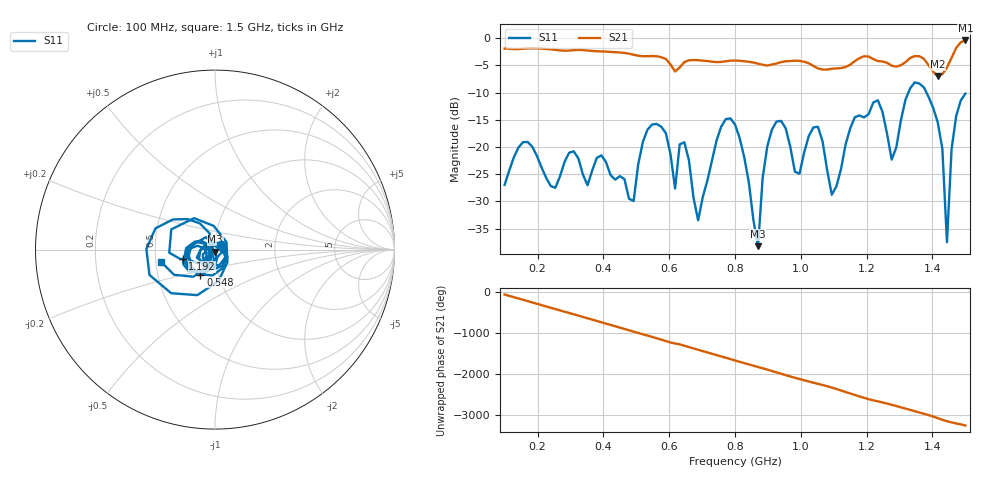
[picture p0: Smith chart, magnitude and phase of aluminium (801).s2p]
! NanoVNA-App
! Date: 2025-09-25 15:01:31
! Start: 100MHz Stop: 1,5GHz Points: 101
! S-Parameter data: F S11 S21 S12 S22
# Hz S RI R 50
!  Frequency  S11_Real  S11_Imag  S21_Real  S21_Imag  S12_Real  S12_Imag  S22_Real  S22_Imag
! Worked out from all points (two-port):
!   101 points, 100 MHz to 1.5 GHz, reference 50 ohm
!   highest |S21| = -0.45 dB at 1.5 GHz (marker M1); lowest = -7.0 dB at 1.416 GHz (marker M2)
!   |S21| within 3 dB of the highest: start of sweep to 570.1 MHz; 1.459 GHz to end of sweep (the widest 2 of 4)
!   lowest |S11| = -38.2 dB at 870 MHz (marker M3), VSWR 1.02, Z = 50.1 - j1.23 ohm
!   |S11| at or under -10 dB: start of sweep to 1.327 GHz; 1.382 GHz to end of sweep
!   S12 and S22 are empty: the file has one direction only
!   S11 on the Smith chart (normalised r, x): 100 MHz: 1.07, +0.06; 548 MHz: 0.82, -0.23; 1.192 GHz: 0.69, -0.07; 1.5 GHz: 0.53, -0.08
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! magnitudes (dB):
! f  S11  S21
! 100 MHz  -27.0  -1.9
! 156 MHz  -19.1  -2.0
! 338 MHz  -25.1  -2.2
! 492 MHz  -29.9  -3.1
! 548 MHz  -15.9  -3.3
! 576 MHz  -16.3  -3.5
! 618 MHz  -27.6  -6.1
! 646 MHz  -19.1  -4.4
! 688 MHz  -33.5  -4.1
! 800 MHz  -15.9  -4.1
! 870 MHz  -38.2  -4.7
! 912 MHz  -16.8  -4.9
! 996 MHz  -24.9  -4.2
! 1.038 GHz  -16.4  -5.1
! 1.094 GHz  -28.8  -5.6
! 1.192 GHz  -14.6  -3.4
! 1.276 GHz  -22.3  -5.1
! 1.346 GHz  -8.1  -3.3
! 1.416 GHz  -15.5  -7.0
! 1.444 GHz  -37.5  -5.4
! 1.458 GHz  -20.4  -3.6
! 1.5 GHz  -10.2  -0.4
